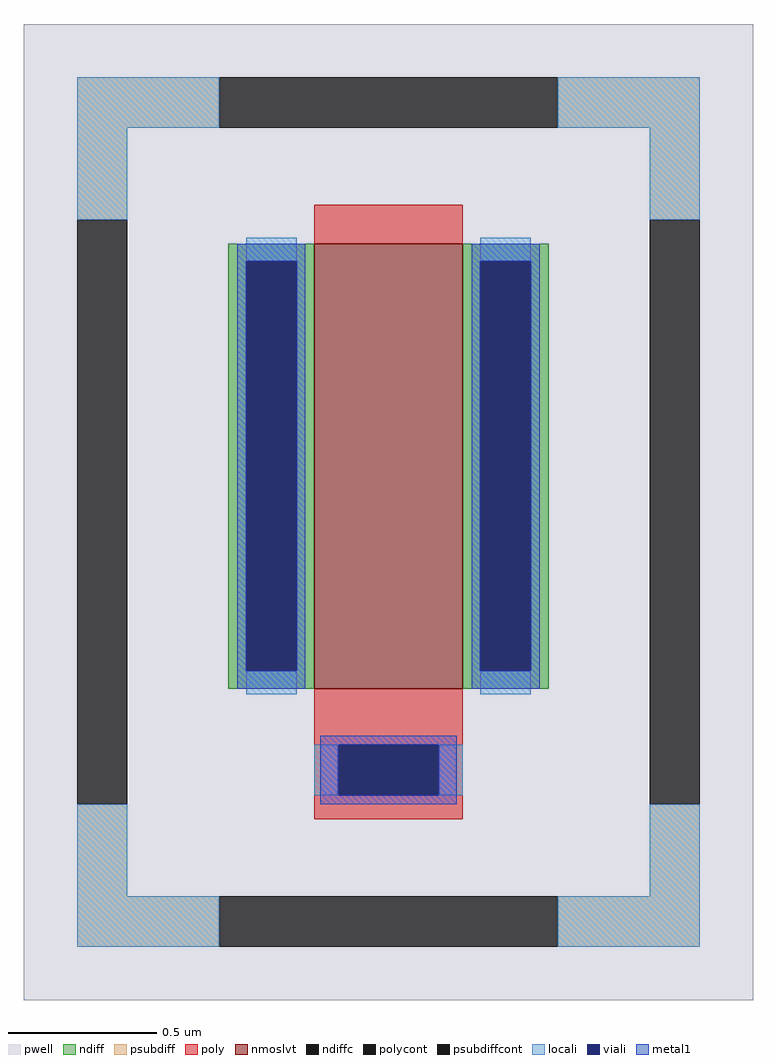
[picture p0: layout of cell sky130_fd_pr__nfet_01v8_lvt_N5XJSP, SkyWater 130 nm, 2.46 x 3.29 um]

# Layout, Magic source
magic
tech sky130A
magscale 1 2
<< pwell >>
rect -246 -329 246 329
<< nmoslvt >>
rect -50 -119 50 181
<< ndiff >>
rect -108 169 -50 181
rect -108 -107 -96 169
rect -62 -107 -50 169
rect -108 -119 -50 -107
rect 50 169 108 181
rect 50 -107 62 169
rect 96 -107 108 169
rect 50 -119 108 -107
<< ndiffc >>
rect -96 -107 -62 169
rect 62 -107 96 169
<< psubdiff >>
rect -210 259 -114 293
rect 114 259 210 293
rect -210 197 -176 259
rect 176 197 210 259
rect -210 -259 -176 -197
rect 176 -259 210 -197
rect -210 -293 -114 -259
rect 114 -293 210 -259
<< psubdiffcont >>
rect -114 259 114 293
rect -210 -197 -176 197
rect 176 -197 210 197
rect -114 -293 114 -259
<< poly >>
rect -50 181 50 207
rect -50 -157 50 -119
rect -50 -191 -34 -157
rect 34 -191 50 -157
rect -50 -207 50 -191
<< polycont >>
rect -34 -191 34 -157
<< locali >>
rect -210 259 -114 293
rect 114 259 210 293
rect -210 197 -176 259
rect 176 197 210 259
rect -96 169 -62 185
rect -96 -123 -62 -107
rect 62 169 96 185
rect 62 -123 96 -107
rect -50 -191 -34 -157
rect 34 -191 50 -157
rect -210 -259 -176 -197
rect 176 -259 210 -197
rect -210 -293 -114 -259
rect 114 -293 210 -259
<< viali >>
rect -96 -107 -62 169
rect 62 -107 96 169
rect -34 -191 34 -157
<< metal1 >>
rect -102 169 -56 181
rect -102 -107 -96 169
rect -62 -107 -56 169
rect -102 -119 -56 -107
rect 56 169 102 181
rect 56 -107 62 169
rect 96 -107 102 169
rect 56 -119 102 -107
rect -46 -157 46 -151
rect -46 -191 -34 -157
rect 34 -191 46 -157
rect -46 -197 46 -191
<< properties >>
string FIXED_BBOX -193 -276 193 276
string gencell sky130_fd_pr__nfet_01v8_lvt
string library sky130
string parameters w 1.5 l 0.5 m 1 nf 1 diffcov 100 polycov 100 guard 1 glc 1 grc 1 gtc 1 gbc 1 tbcov 100 rlcov 100 topc 0 botc 1 poverlap 0 doverlap 1 lmin 0.15 wmin 0.42 compatible {sky130_fd_pr__nfet_01v8 sky130_fd_pr__nfet_01v8_lvt  sky130_fd_bs_flash__special_sonosfet_star  sky130_fd_pr__nfet_g5v0d10v5 sky130_fd_pr__nfet_05v0_nvt  sky130_fd_pr__nfet_03v3_nvt} full_metal 1 viasrc 100 viadrn 100 viagate 100 viagb 0 viagr 0 viagl 0 viagt 0
<< end >>
